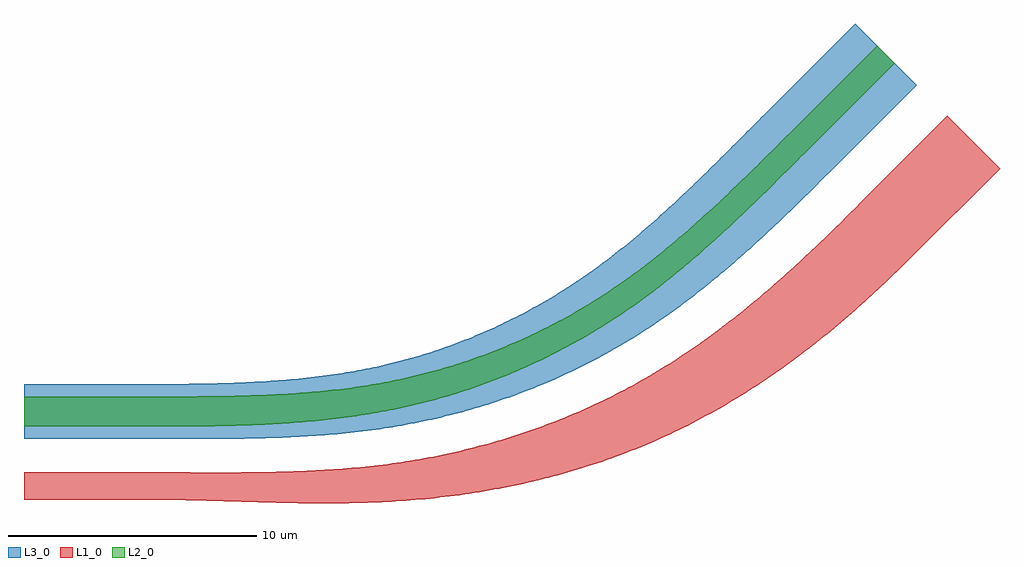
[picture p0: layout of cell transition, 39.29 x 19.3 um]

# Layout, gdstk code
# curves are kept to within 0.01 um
from math import pi, radians
import gdstk
lib = gdstk.Library(unit=1e-6, precision=1e-09)
def R(c, l, rs):  # rectangles x0, y0, x1, y1
    for r in rs: c.add(gdstk.rectangle(r[:2], r[2:], *l))
def P(c, l, *ps):  # polygons
    for p in ps: c.add(gdstk.Polygon(p, *l))
L1_0 = (1, 0)
L2_0 = (2, 0)
L3_0 = (3, 0)

extrude_bf2bc785 = lib.new_cell('extrude_bf2bc785')
R(extrude_bf2bc785, L1_0, [(0,-3.55,5,-2.45)])
R(extrude_bf2bc785, L2_0, [(0,-0.6,5,0.6)])
R(extrude_bf2bc785, L3_0, [(0,-1.1,5,1.1)])

extrude_ff487d41 = lib.new_cell('extrude_ff487d41')
P(extrude_ff487d41, L1_0, [(7.329,-3.693),(8.636,-3.674),(9.78,-3.626),(10.949,-3.541),(11.94,-3.438),(12.933,-3.305),(13.926,-3.14),(15.117,-2.9),(16.054,-2.676),(16.054,-0.522),(15.337,-0.78),(14.433,-1.075),(13.704,-1.289),(12.786,-1.529),(12.046,-1.699),(11.118,-1.884),(10.005,-2.065),(9.092,-2.182),(7.463,-2.33),(5.503,-2.425),(3.232,-2.458),(0,-2.45),(0,-3.55),(1.505,-3.566),(5.508,-3.674)],
  [(16.107,-2.663),(17.093,-2.39),(18.074,-2.082),(19.048,-1.736),(20.014,-1.353),(20.968,-0.931),(21.722,-0.565),(22.812,0.017),(23.685,0.529),(24.53,1.063),(25.504,1.729),(26.284,2.3),(27.182,3.001),(27.9,3.594),(28.86,4.434),(29.644,5.157),(30.756,6.24),(28.635,8.361),(26.847,6.613),(25.968,5.795),(25.056,4.984),(23.685,3.848),(22.968,3.296),(22.227,2.757),(21.463,2.235),(20.834,1.832),(20.183,1.439),(19.35,0.973),(18.502,0.537),(17.813,0.21),(16.939,-0.171),(16.054,-0.522),(16.054,-2.676)])
P(extrude_ff487d41, L2_0, [(0.166,-0.6),(3.341,-0.572),(4.853,-0.517),(6.03,-0.443),(7.377,-0.316),(8.385,-0.185),(9.558,0.011),(10.569,0.224),(11.742,0.526),(12.571,0.776),(13.553,1.113),(14.52,1.489),(14.52,2.68),(13.797,2.389),(13.02,2.105),(12.392,1.897),(11.599,1.661),(10.638,1.413),(9.992,1.27),(9.188,1.116),(8.383,0.989),(7.574,0.884),(6.761,0.8),(5.78,0.723),(4.796,0.669),(2.819,0.613),(0,0.6),(0,-0.6)],
  [(14.68,1.555),(15.471,1.904),(16.251,2.279),(17.016,2.68),(17.619,3.019),(18.359,3.466),(18.94,3.841),(19.503,4.226),(20.189,4.724),(20.859,5.241),(21.644,5.881),(22.911,6.99),(24.378,8.369),(26.514,10.482),(25.807,11.189),(23.8,9.207),(22.354,7.853),(21.739,7.306),(20.988,6.668),(19.832,5.753),(19.173,5.271),(18.5,4.81),(17.942,4.452),(17.232,4.026),(16.507,3.625),(15.77,3.248),(14.52,2.68),(14.52,1.489)])
P(extrude_ff487d41, L3_0, [(2.006,-1.102),(4.199,-1.082),(5.901,-1.024),(7.615,-0.906),(8.992,-0.753),(10.376,-0.536),(11.771,-0.243),(13.15,0.123),(14.501,0.56),(14.501,3.654),(13.779,3.314),(12.896,2.938),(12.299,2.708),(11.542,2.443),(10.622,2.16),(9.846,1.954),(9.07,1.776),(8.132,1.598),(7.342,1.475),(6.384,1.356),(5.418,1.264),(4.445,1.197),(2.317,1.118),(0,1.1),(0,-1.1)],
  [(14.511,0.563),(15.349,0.875),(16.178,1.216),(16.995,1.586),(17.64,1.902),(18.434,2.323),(19.213,2.771),(19.972,3.244),(20.704,3.735),(21.418,4.246),(22.113,4.775),(22.925,5.429),(23.714,6.101),(24.483,6.787),(25.233,7.483),(26.328,8.538),(27.398,9.598),(24.923,12.073),(22.942,10.093),(21.78,8.963),(20.365,7.663),(19.279,6.741),(18.162,5.877),(17.52,5.42),(16.992,5.068),(16.318,4.646),(15.769,4.324),(15.211,4.017),(14.501,3.654),(14.501,0.56)])

extrude_71f7ac9c = lib.new_cell('extrude_71f7ac9c')
R(extrude_71f7ac9c, L1_0, [(0,-6.5,5,-3.5)])
R(extrude_71f7ac9c, L2_0, [(0,-0.5,5,0.5)])
R(extrude_71f7ac9c, L3_0, [(0,-1.75,5,1.75)])

transition = lib.new_cell('transition')
transition.add(gdstk.Reference(extrude_bf2bc785, (0,0)))
transition.add(gdstk.Reference(extrude_ff487d41, (5,0)))
transition.add(gdstk.Reference(extrude_71f7ac9c, (31.16,10.836), rotation=radians(45)))

lib.write_gds('transition.gds')
